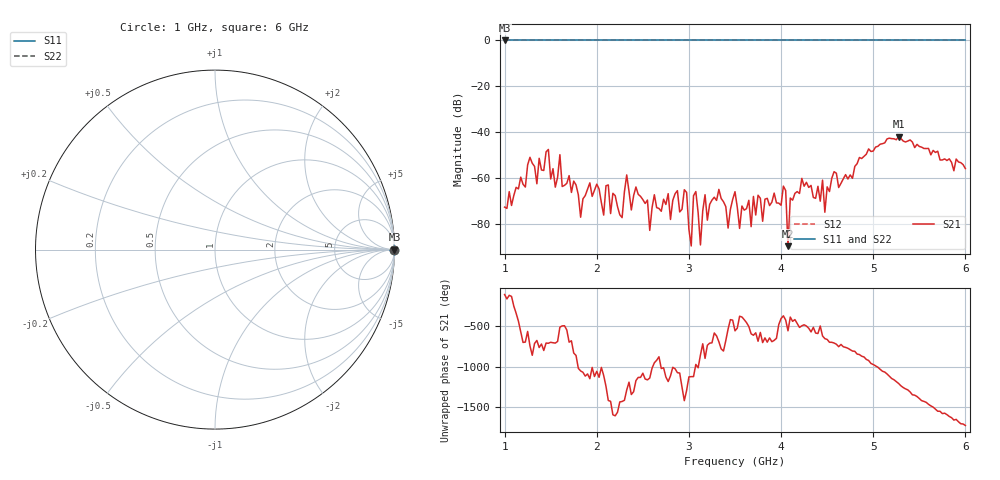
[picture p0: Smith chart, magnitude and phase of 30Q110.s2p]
!Keysight Technologies N9926A: A.08.19
!Date: Sunday, 01 March 2026 14:23:16
!Timezone: (GMT-06:00) Central Time (US & Canada)
!Model: N9926A
!Serial: MY53102721
!GPS Latitude:
!GPS Longitude:
!GPS TimeStamp: 0001-01-01 00:00:00Z
!GPS Seconds Since Last Read: 0
!CHECKSUM:1359669068
!Correction: S11()S21(ON U)S12()S22()
!S2P File: Measurements:S11,S21,S12,S22:
# Hz S DB R 50
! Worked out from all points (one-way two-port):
!   201 points, 1 GHz to 6 GHz, reference 50 ohm
!   highest |S21| = -42.08 dB at 5.275 GHz (marker M1); lowest = -89.8 dB at 4.075 GHz (marker M2)
!   lowest |S11| = 0.0 dB at 1 GHz (marker M3)
!   |S11| at or under -10 dB: nowhere
!   |S22| runs from 0.0 to 0.0 dB; largest |S21 - S12| = 1
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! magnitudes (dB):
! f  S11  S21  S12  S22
! 1 GHz  0.0  -72.8  0.0  0.0
! 1.475 GHz  0.0  -47.6  0.0  0.0
! 1.85 GHz  0.0  -69.1  0.0  0.0
! 2.275 GHz  0.0  -77.4  0.0  0.0
! 2.325 GHz  0.0  -58.7  0.0  0.0
! 2.375 GHz  0.0  -74.0  0.0  0.0
! 2.675 GHz  0.0  -73.4  0.0  0.0
! 2.95 GHz  0.0  -65.2  0.0  0.0
! 3.025 GHz  0.0  -89.7  0.0  0.0
! 3.075 GHz  0.0  -66.0  0.0  0.0
! 3.125 GHz  0.0  -89.3  0.0  0.0
! 3.325 GHz  0.0  -65.0  0.0  0.0
! 3.425 GHz  0.0  -81.9  0.0  0.0
! 3.5 GHz  0.0  -66.1  0.0  0.0
! 3.675 GHz  0.0  -81.3  0.0  0.0
! 4.025 GHz  0.0  -63.6  0.0  0.0
! 4.075 GHz  0.0  -89.8  0.0  0.0
! 4.225 GHz  0.0  -60.2  0.0  0.0
! 4.35 GHz  0.0  -68.6  0.0  0.0
! 5.175 GHz  0.0  -42.7  0.0  0.0
! 5.275 GHz  0.0  -42.1  0.0  0.0
! 6 GHz  0.0  -56.0  0.0  0.0
